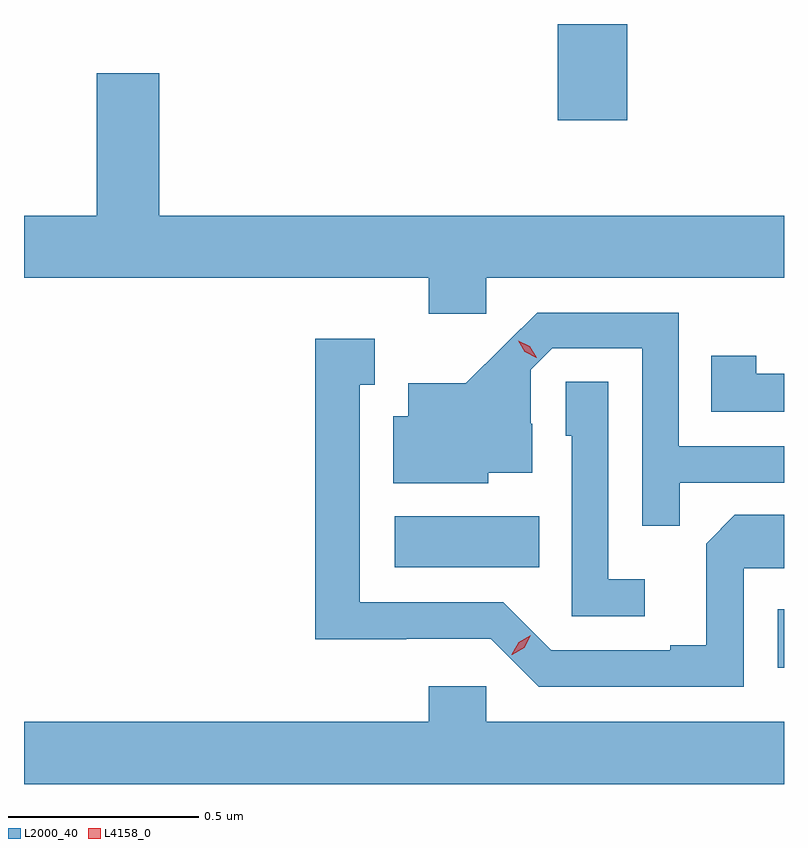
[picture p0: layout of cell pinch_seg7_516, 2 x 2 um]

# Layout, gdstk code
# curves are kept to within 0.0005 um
import gdstk
lib = gdstk.Library(unit=1e-6, precision=1e-09)
def R(c, l, rs):  # rectangles x0, y0, x1, y1
    for r in rs: c.add(gdstk.rectangle(r[:2], r[2:], *l))
def P(c, l, *ps):  # polygons
    for p in ps: c.add(gdstk.Polygon(p, *l))
L2000_40 = (2000, 40)
L4158_0 = (4158, 0)

pinch_seg7_516 = lib.new_cell('pinch_seg7_516')
R(pinch_seg7_516, L2000_40, [(166.799,1078.178,166.816,1078.332), (165.792,1078.442,166.172,1078.576), (166.22,1079.619,166.403,1079.872)])
P(pinch_seg7_516, L2000_40, [(165.008,1079.743),(165.008,1079.368),(164.816,1079.368),(164.816,1079.204),(165.881,1079.204),(165.881,1079.109),(166.032,1079.109),(166.032,1079.204),(166.816,1079.204),(166.816,1079.368),(165.172,1079.368),(165.172,1079.743)],
  [(166.541,1078.665),(166.816,1078.665),(166.816,1078.761),(166.539,1078.761),(166.539,1079.112),(166.166,1079.112),(165.979,1078.927),(165.827,1078.927),(165.827,1078.84),(165.788,1078.84),(165.788,1078.664),(166.038,1078.664),(166.038,1078.691),(166.153,1078.691),(166.153,1078.82),(166.149,1078.82),(166.149,1078.962),(166.206,1079.019),(166.443,1079.019),(166.443,1078.552),(166.541,1078.552)],
  [(166.71,1078.44),(166.816,1078.44),(166.816,1078.58),(166.687,1078.58),(166.611,1078.504),(166.611,1078.237),(166.517,1078.237),(166.517,1078.224),(166.203,1078.224),(166.077,1078.35),(165.7,1078.35),(165.7,1078.923),(165.739,1078.923),(165.739,1079.044),(165.582,1079.044),(165.582,1078.253),(165.822,1078.253),(165.822,1078.254),(166.044,1078.254),(166.17,1078.128),(166.71,1078.128)],
  [(166.816,1078.952),(166.743,1078.952),(166.743,1078.999),(166.624,1078.999),(166.624,1078.851),(166.816,1078.851)],
  [(166.45,1078.411),(166.353,1078.411),(166.353,1078.931),(166.242,1078.931),(166.242,1078.788),(166.257,1078.788),(166.257,1078.314),(166.45,1078.314)],
  [(166.816,1078.036),(166.032,1078.036),(166.032,1078.129),(165.881,1078.129),(165.881,1078.036),(164.816,1078.036),(164.816,1077.872),(166.816,1077.872)])
P(pinch_seg7_516, L4158_0, [(166.164,1078.994),(166.134,1079.009),(166.116,1079.038),(166.116,1079.039),(166.116,1079.039),(166.147,1079.024),(166.165,1078.994),(166.165,1078.994)],
  [(166.1,1078.212),(166.1,1078.213),(166.118,1078.245),(166.15,1078.264),(166.15,1078.264),(166.15,1078.264),(166.132,1078.231),(166.101,1078.212)])

lib.write_gds('pinch_seg7_516.gds')
